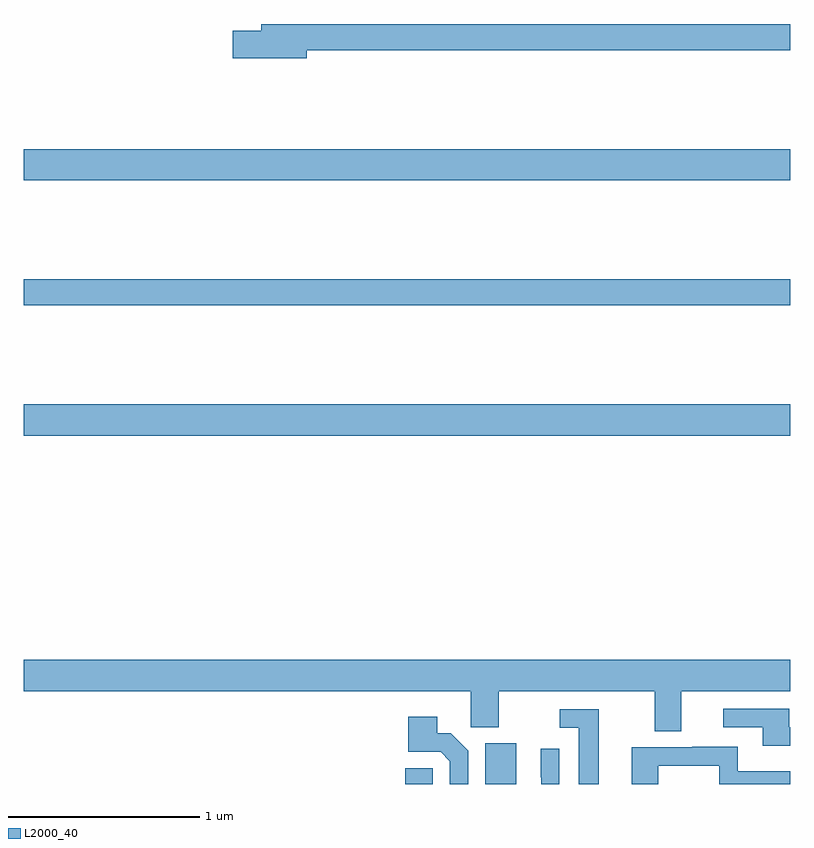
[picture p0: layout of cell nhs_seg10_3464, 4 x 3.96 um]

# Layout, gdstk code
import gdstk
lib = gdstk.Library(unit=1e-6, precision=1e-09)
def R(c, l, rs):  # rectangles x0, y0, x1, y1
    for r in rs: c.add(gdstk.rectangle(r[:2], r[2:], *l))
def P(c, l, *ps):  # polygons
    for p in ps: c.add(gdstk.Polygon(p, *l))
L2000_40 = (2000, 40)

nhs_seg10_3464 = lib.new_cell('nhs_seg10_3464')
R(nhs_seg10_3464, L2000_40, [(300.992,1298.5,301.134,1298.582), (301.409,1298.5,301.57,1298.712), (299,1300.316,303,1300.48), (299,1300.996,303,1301.132), (299,1301.648,303,1301.812)])
P(nhs_seg10_3464, L2000_40, [(300.478,1302.328),(303,1302.328),(303,1302.464),(300.239,1302.464),(300.239,1302.428),(300.09,1302.428),(300.09,1302.286),(300.478,1302.286)],
  [(302.431,1298.984),(303,1298.984),(303,1299.148),(299,1299.148),(299,1298.984),(301.332,1298.984),(301.332,1298.797),(301.479,1298.797),(301.479,1298.984),(302.291,1298.984),(302.291,1298.776),(302.431,1298.776)],
  [(303,1298.796),(302.995,1298.796),(302.995,1298.892),(302.649,1298.892),(302.649,1298.796),(302.855,1298.796),(302.855,1298.699),(303,1298.699)],
  [(301.999,1298.889),(301.797,1298.889),(301.797,1298.793),(301.895,1298.793),(301.895,1298.5),(301.999,1298.5)],
  [(301.32,1298.673),(301.227,1298.766),(301.159,1298.766),(301.159,1298.851),(301.007,1298.851),(301.007,1298.667),(301.176,1298.667),(301.224,1298.619),(301.224,1298.5),(301.32,1298.5)],
  [(302.31,1298.595),(302.628,1298.595),(302.628,1298.5),(303,1298.5),(303,1298.566),(302.725,1298.566),(302.725,1298.695),(302.489,1298.695),(302.489,1298.691),(302.171,1298.691),(302.171,1298.5),(302.31,1298.5)],
  [(301.794,1298.683),(301.698,1298.683),(301.698,1298.536),(301.7,1298.536),(301.7,1298.5),(301.794,1298.5)])

lib.write_gds('nhs_seg10_3464.gds')
